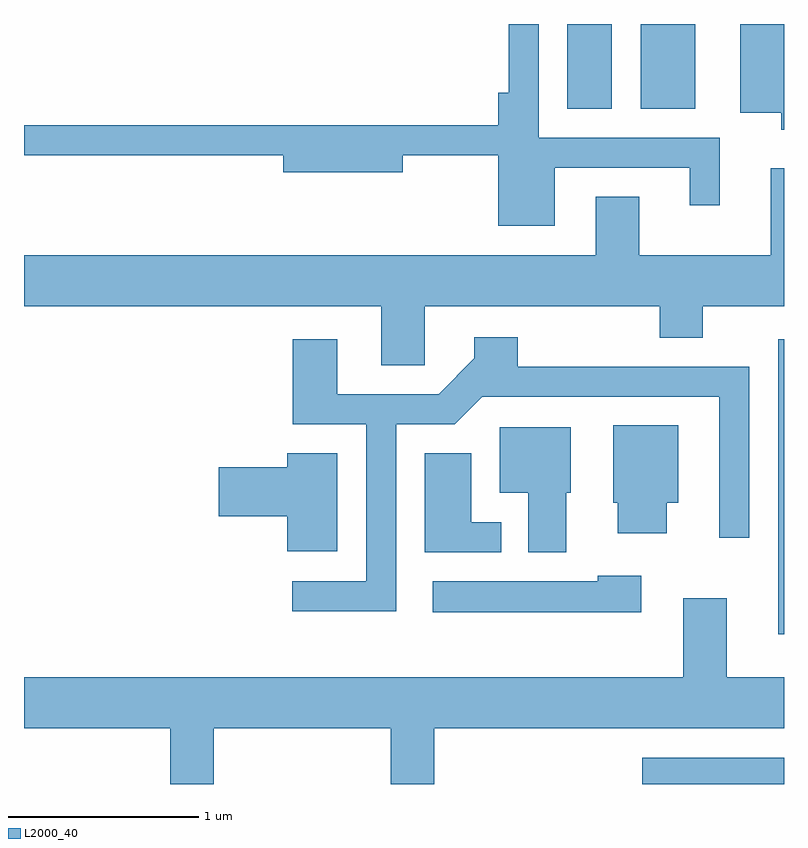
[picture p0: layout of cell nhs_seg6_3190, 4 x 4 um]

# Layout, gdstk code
import gdstk
lib = gdstk.Library(unit=1e-6, precision=1e-09)
def R(c, l, rs):  # rectangles x0, y0, x1, y1
    for r in rs: c.add(gdstk.rectangle(r[:2], r[2:], *l))
def P(c, l, *ps):  # polygons
    for p in ps: c.add(gdstk.Polygon(p, *l))
L2000_40 = (2000, 40)

nhs_seg6_3190 = lib.new_cell('nhs_seg6_3190')
R(nhs_seg6_3190, L2000_40, [(284.866,1574.162,285.611,1574.299), (285.581,1574.951,285.611,1576.504), (284.471,1577.716,284.704,1578.162), (284.856,1577.716,285.144,1578.162)])
P(nhs_seg6_3190, L2000_40, [(284.404,1577.406),(285.116,1577.406),(285.116,1577.208),(285.274,1577.208),(285.274,1577.564),(284.319,1577.564),(284.319,1578.162),(284.161,1578.162),(284.161,1577.799),(284.106,1577.799),(284.106,1577.629),(281.611,1577.629),(281.611,1577.471),(282.976,1577.471),(282.976,1577.381),(283.604,1577.381),(283.604,1577.471),(284.106,1577.471),(284.106,1577.101),(284.404,1577.101)],
  [(285.611,1578.162),(285.381,1578.162),(285.381,1577.696),(285.596,1577.696),(285.596,1577.606),(285.611,1577.606)],
  [(283.719,1576.676),(284.956,1576.676),(284.956,1576.511),(285.184,1576.511),(285.184,1576.676),(285.611,1576.676),(285.611,1577.404),(285.541,1577.404),(285.541,1576.944),(284.849,1576.944),(284.849,1577.254),(284.621,1577.254),(284.621,1576.944),(281.611,1576.944),(281.611,1576.676),(283.491,1576.676),(283.491,1576.366),(283.719,1576.366)],
  [(283.569,1576.056),(283.877,1576.056),(284.022,1576.201),(285.271,1576.201),(285.271,1575.458),(285.429,1575.458),(285.429,1576.359),(284.209,1576.359),(284.209,1576.514),(283.981,1576.514),(283.981,1576.402),(283.794,1576.214),(283.259,1576.214),(283.259,1576.504),(283.026,1576.504),(283.026,1576.056),(283.411,1576.056),(283.411,1575.229),(283.023,1575.229),(283.023,1575.071),(283.569,1575.071)],
  [(284.994,1575.641),(285.054,1575.641),(285.054,1576.049),(284.711,1576.049),(284.711,1575.641),(284.736,1575.641),(284.736,1575.481),(284.994,1575.481)],
  [(284.464,1575.696),(284.489,1575.696),(284.489,1576.039),(284.116,1576.039),(284.116,1575.696),(284.266,1575.696),(284.266,1575.381),(284.464,1575.381)],
  [(283.259,1575.904),(282.996,1575.904),(282.996,1575.829),(282.636,1575.829),(282.636,1575.571),(282.996,1575.571),(282.996,1575.386),(283.259,1575.386)],
  [(284.123,1575.539),(283.964,1575.539),(283.964,1575.904),(283.721,1575.904),(283.721,1575.381),(284.123,1575.381)],
  [(284.859,1575.259),(284.631,1575.259),(284.631,1575.229),(283.763,1575.229),(283.763,1575.066),(284.859,1575.066)],
  [(282.609,1574.456),(283.541,1574.456),(283.541,1574.162),(283.769,1574.162),(283.769,1574.456),(285.611,1574.456),(285.611,1574.724),(285.309,1574.724),(285.309,1575.139),(285.081,1575.139),(285.081,1574.724),(281.611,1574.724),(281.611,1574.456),(282.381,1574.456),(282.381,1574.162),(282.609,1574.162)])

lib.write_gds('nhs_seg6_3190.gds')
